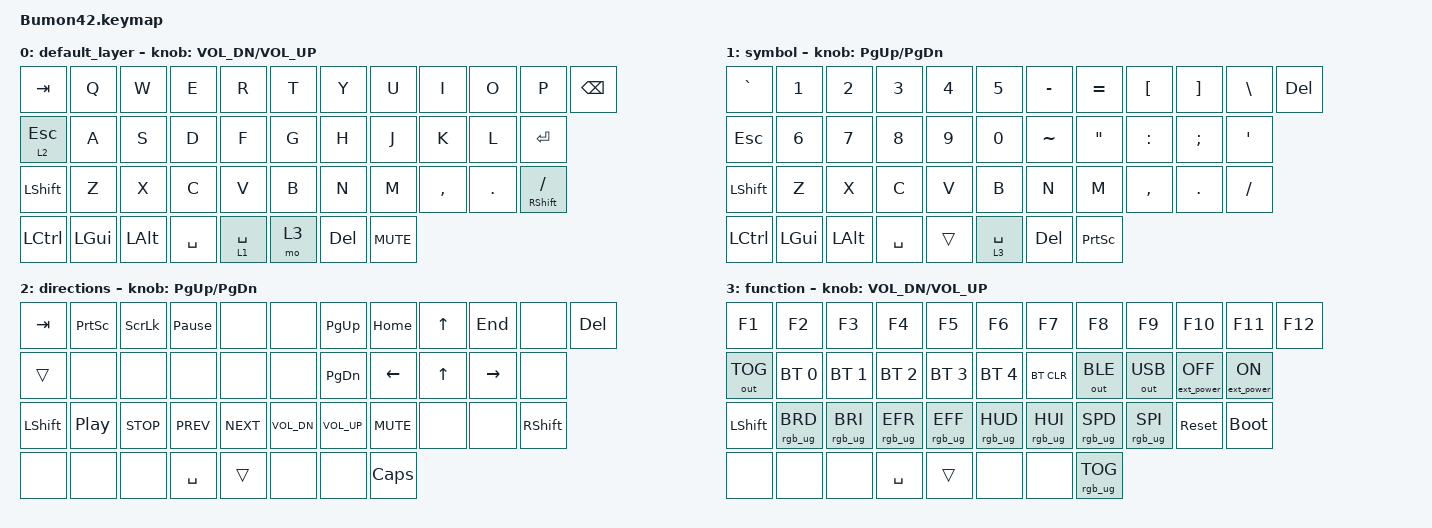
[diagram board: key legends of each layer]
#include <behaviors.dtsi>
#include <dt-bindings/zmk/bt.h>
#include <dt-bindings/zmk/ext_power.h>
#include <dt-bindings/zmk/keys.h>
#include <dt-bindings/zmk/outputs.h>
#include <dt-bindings/zmk/rgb.h>

// changed lwr and rse

#define DEF 0
#define GAM 1
#define RSE 2
#define LWR 3
#define ADJ 4
#define FN  5

/ {
    keymap {
        compatible = "zmk,keymap";

        default_layer {
            bindings = <
&kp TAB       &kp Q     &kp W     &kp E      &kp R        &kp T  &kp Y       &kp U       &kp I      &kp O    &kp P             &kp BSPC
&lt 2 ESCAPE  &kp A     &kp S     &kp D      &kp F        &kp G  &kp H       &kp J       &kp K      &kp L    &kp ENTER
&kp LSHFT     &kp Z     &kp X     &kp C      &kp V        &kp B  &kp N       &kp M       &kp COMMA  &kp DOT  &mt RSHIFT SLASH
&kp LCTRL     &kp LGUI  &kp LALT  &kp SPACE  &lt 1 SPACE  &mo 3  &kp DELETE  &kp K_MUTE
            >;

            sensor-bindings = <&inc_dec_kp C_VOL_DN C_VOL_UP>;
        };

        symbol {
            bindings = <
&kp GRAVE   &kp NUMBER_1  &kp NUMBER_2  &kp NUMBER_3  &kp NUMBER_4  &kp N5       &kp MINUS  &kp EQUAL          &kp LEFT_BRACKET  &kp RIGHT_BRACKET  &kp BACKSLASH  &kp DEL
&kp ESCAPE  &kp NUMBER_6  &kp N7        &kp NUMBER_8  &kp N9        &kp N0       &kp TILDE  &kp DOUBLE_QUOTES  &kp COLON         &kp SEMICOLON      &kp SQT
&kp LSHFT   &kp Z         &kp X         &kp C         &kp V         &kp B        &kp N      &kp M              &kp COMMA         &kp DOT            &kp SLASH
&kp LCTRL   &kp LEFT_GUI  &kp LALT      &kp SPACE     &trans        &lt 3 SPACE  &kp DEL    &kp PRINTSCREEN
            >;

            sensor-bindings = <&inc_dec_kp PAGE_UP PAGE_DOWN>;
        };

        directions {
            bindings = <
&kp TAB    &kp PRINTSCREEN   &kp SCROLLLOCK  &kp PAUSE_BREAK  &none       &none         &kp PG_UP      &kp HOME    &kp UP_ARROW  &kp END    &none      &kp DEL
&trans     &none             &none           &none            &none       &none         &kp PAGE_DOWN  &kp LEFT    &kp UP        &kp RIGHT  &none
&kp LSHFT  &kp C_PLAY_PAUSE  &kp C_STOP      &kp C_PREV       &kp C_NEXT  &kp C_VOL_DN  &kp C_VOL_UP   &kp C_MUTE  &none         &none      &kp RSHFT
&none      &none             &none           &kp SPACE        &trans      &none         &none          &kp CAPS
            >;

            sensor-bindings = <&inc_dec_kp PG_UP PG_DN>;
        };

        function {
            bindings = <
&kp F1        &kp F2           &kp F3           &kp F4           &kp F5           &kp F6           &kp F7           &kp F8           &kp F9           &kp F10            &kp F11           &kp F12
&out OUT_TOG  &bt BT_SEL 0     &bt BT_SEL 1     &bt BT_SEL 2     &bt BT_SEL 3     &bt BT_SEL 4     &bt BT_CLR       &out OUT_BLE     &out OUT_USB     &ext_power EP_OFF  &ext_power EP_ON
&kp LSHFT     &rgb_ug RGB_BRD  &rgb_ug RGB_BRI  &rgb_ug RGB_EFR  &rgb_ug RGB_EFF  &rgb_ug RGB_HUD  &rgb_ug RGB_HUI  &rgb_ug RGB_SPD  &rgb_ug RGB_SPI  &sys_reset         &bootloader
&none         &none            &none            &kp SPACE        &trans           &none            &none            &rgb_ug RGB_TOG
            >;

            sensor-bindings = <&inc_dec_kp C_VOL_DN C_VOL_UP>;
        };
    };
};
